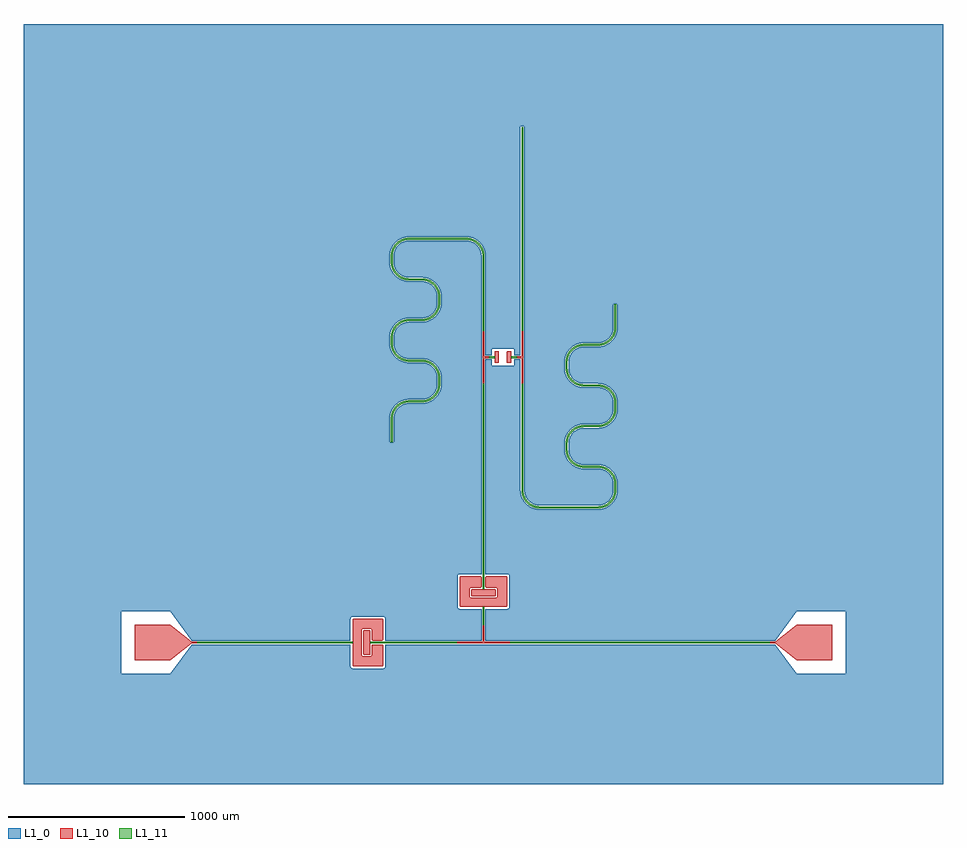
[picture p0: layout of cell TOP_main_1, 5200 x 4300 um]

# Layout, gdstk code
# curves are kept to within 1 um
import gdstk
lib = gdstk.Library(unit=1e-6, precision=1e-09)
def R(c, l, rs):  # rectangles x0, y0, x1, y1
    for r in rs: c.add(gdstk.rectangle(r[:2], r[2:], *l))
def P(c, l, *ps):  # polygons
    for p in ps: c.add(gdstk.Polygon(p, *l))
L1_0 = (1, 0)
L1_10 = (1, 10)
L1_11 = (1, 11)

ground_main_1 = lib.new_cell('ground_main_1')
R(ground_main_1, L1_0, [(-511.28,-800,-484.407,-11), (-484.407,-800,-438.03,-11), (-438.03,-800,-308.285,-11), (-308.285,-800,-263.265,-11), (-263.265,-800,-69.572,-11), (-69.572,-800,173.264,-11), (173.264,-800,467.953,-11), (467.953,-800,507.269,-11), (507.269,-800,569,-11), (569,-800,696.051,-11), (696.051,-800,731.192,-11), (-69.572,11,-11,190), (467.953,11,507.269,754), (507.269,11,569,754), (-308.285,2296,-263.265,3500)])
P(ground_main_1, L1_0, [(731.945,840.369),(734.175,850.759),(735.016,858.687),(735.177,896),(734.175,909.241),(731.192,922.18),(731.192,837.82)],
  [(-509.575,2250.173),(-498.016,2263.782),(-484.407,2275.341),(-484.407,3500),(-511.28,3500),(-511.28,2247.731)],
  [(-484.407,2246.211),(-495.543,2231.526),(-502.515,2217.205),(-506.792,2201.862),(-508.234,2186),(-508.073,2148.687),(-505.677,2132.94),(-498.154,2113.104),(-484.407,2093.789)],
  [(-509.575,1790.173),(-498.016,1803.782),(-484.407,1815.341),(-484.407,2064.659),(-498.016,2076.218),(-511.28,2092.269),(-511.28,1787.731)],
  [(-484.407,1786.211),(-495.543,1771.526),(-502.515,1757.205),(-506.792,1741.862),(-508.234,1726),(-508.073,1688.687),(-505.677,1672.94),(-498.154,1653.104),(-484.407,1633.789)],
  [(-509.575,1330.173),(-498.016,1343.782),(-484.407,1355.341),(-484.407,1604.659),(-498.016,1616.218),(-511.28,1632.269),(-511.28,1327.731)],
  [(-484.407,1326.211),(-499.354,1304.524),(-504.249,1292.18),(-507.232,1279.241),(-508.234,1135),(-511.28,1135),(-511.28,11),(-484.407,11)],
  [(-481.964,2277.046),(-460.949,2288.187),(-438.03,2294.551),(-438.03,3500),(-484.407,3500),(-484.407,2275.341)],
  [(-438.03,2272.174),(-451.439,2268.281),(-463.464,2262.649),(-474.505,2255.272),(-484.407,2246.211),(-484.407,2093.789),(-474.505,2084.728),(-463.464,2077.351),(-451.439,2071.719),(-438.03,2067.826)],
  [(-481.964,1817.046),(-460.949,1828.187),(-438.03,1834.551),(-438.03,2045.449),(-460.949,2051.813),(-484.407,2064.659),(-484.407,1815.341)],
  [(-438.03,1812.174),(-451.439,1808.281),(-463.464,1802.649),(-474.505,1795.272),(-484.407,1786.211),(-484.407,1633.789),(-474.505,1624.728),(-463.464,1617.351),(-451.439,1611.719),(-438.03,1607.826)],
  [(-481.964,1357.046),(-460.949,1368.187),(-438.03,1374.551),(-438.03,1585.449),(-460.949,1591.813),(-484.407,1604.659),(-484.407,1355.341)],
  [(-438.03,1352.174),(-451.439,1348.281),(-463.464,1342.649),(-474.505,1335.272),(-484.407,1326.211),(-484.407,11),(-438.03,11)],
  [(-435.084,2294.993),(-432.127,2295.355),(-429.161,2295.637),(-426.189,2295.839),(-423.213,2295.96),(-420.234,2296),(-308.285,2296),(-308.285,3500),(-438.03,3500),(-438.03,2294.551)],
  [(-308.285,2274),(-420.234,2274),(-438.03,2272.174),(-438.03,2067.826),(-422.892,2066.04),(-340.073,2065.637),(-322.453,2062.749),(-308.285,2058.187)],
  [(-435.084,1834.993),(-341.036,1836.361),(-325.369,1839.232),(-308.285,1845.989),(-308.285,2034.011),(-325.369,2040.768),(-341.036,2043.639),(-423.213,2044.04),(-438.03,2045.449),(-438.03,1834.551)],
  [(-308.285,1821.813),(-322.453,1817.251),(-340.073,1814.363),(-422.892,1813.96),(-438.03,1812.174),(-438.03,1607.826),(-422.892,1606.04),(-340.073,1605.637),(-322.453,1602.749),(-308.285,1598.187)],
  [(-435.084,1374.993),(-341.036,1376.361),(-325.369,1379.232),(-308.285,1385.989),(-308.285,1574.011),(-325.369,1580.768),(-341.036,1583.639),(-423.213,1584.04),(-438.03,1585.449),(-438.03,1374.551)],
  [(-308.285,1361.813),(-322.453,1357.251),(-340.073,1354.363),(-422.892,1353.96),(-438.03,1352.174),(-438.03,11),(-308.285,11)],
  [(-263.265,2274),(-308.285,2274),(-308.285,2058.187),(-284.827,2045.341),(-273.353,2035.86),(-263.265,2024.916)],
  [(-308.104,1846.08),(-294.729,1854.728),(-283.131,1865.645),(-273.691,1878.474),(-265.814,1895.294),(-263.265,1904.21),(-263.265,1975.79),(-269.88,1994.524),(-279.728,2010.271),(-292.661,2023.601),(-308.285,2034.011)],
  [(-263.265,1855.084),(-273.353,1844.14),(-284.827,1834.659),(-308.285,1821.813),(-308.285,1598.187),(-284.827,1585.341),(-273.353,1575.86),(-263.265,1564.916)],
  [(-308.104,1386.08),(-294.729,1394.728),(-283.131,1405.645),(-273.691,1418.474),(-265.814,1435.294),(-263.265,1444.21),(-263.265,1515.79),(-269.88,1534.524),(-279.728,1550.271),(-292.661,1563.601),(-308.285,1574.011)],
  [(-263.265,1395.084),(-273.353,1384.14),(-284.827,1374.659),(-308.285,1361.813),(-308.285,11),(-263.265,11)],
  [(-69.572,3500),(-263.265,3500),(-263.265,2296),(-96.021,2295.96),(-69.572,2291.99)],
  [(-69.572,190),(-137.341,190.231),(-144.276,194.387),(-147,202),(-146.087,379.592),(-141.667,384.978),(-136.176,386.942),(-69.572,387),(-69.572,2268.925),(-83.138,2272.559),(-96.342,2273.96),(-263.265,2274),(-263.265,2024.916),(-253.245,2010.138),(-245.747,1993.933),(-240.449,1973.796),(-239,1956),(-239.161,1918.045),(-242.251,1897.453),(-250.454,1875.126),(-263.265,1855.084),(-263.265,1564.916),(-253.245,1550.138),(-245.747,1533.933),(-240.449,1513.796),(-239,1496),(-239.161,1458.045),(-242.251,1437.453),(-250.454,1415.126),(-263.265,1395.084),(-263.265,11),(-69.572,11)],
  [(-262.96,1905.53),(-261.642,1913.393),(-261.04,1921.342),(-261,1956),(-261.642,1966.607),(-263.265,1975.79),(-263.265,1904.21)],
  [(-262.96,1445.53),(-261.642,1453.393),(-261.04,1461.342),(-261,1496),(-261.642,1506.607),(-263.265,1515.79),(-263.265,1444.21)],
  [(46.5,1661.5),(48.5,1663.5),(171.5,1663.5),(173.264,1662.443),(173.264,3500),(-69.572,3500),(-69.572,2291.99),(-55.533,2287.047),(-42.289,2280.254),(-27.788,2269.838),(-17.121,2259.457),(-7.954,2247.731),(-0.454,2234.874),(5.242,2221.123),(9.029,2206.729),(11,2186),(11,1626),(46.5,1626)],
  [(-11,387),(-11.04,2188.658),(-12.441,2201.862),(-15.814,2214.706),(-21.08,2226.896),(-28.12,2238.154),(-36.775,2248.225),(-46.846,2256.88),(-69.572,2268.925),(-69.572,387)],
  [(173.264,1567.557),(171.5,1566.5),(48.11,1566.538),(46.5,1568.5),(46.5,1604),(11,1604),(11,387),(136.176,386.942),(144.276,382.613),(147,375),(147,202),(144.978,195.333),(140.657,191.417),(135,190),(11,190),(11,11),(173.264,11)],
  [(467.953,1050.533),(461.572,1070.353),(459,1094),(459.645,1137.893),(462.251,1152.547),(467.953,1169.467),(467.953,1510.533),(461.572,1530.353),(459,1554),(459.645,1597.893),(462.251,1612.547),(467.953,1629.467),(467.953,3500),(173.264,3500),(173.5,1626),(209,1626),(209,2921),(231,2921),(231.642,853.393),(234.232,840.369),(238.753,827.884),(251.399,807.661),(269.01,791.577),(280.476,784.88),(292.82,779.985),(316.342,776.04),(467.953,776)],
  [(467.953,754),(316.021,754.04),(301.204,755.449),(286.713,758.845),(262.289,769.746),(243.353,784.14),(226.316,804.758),(214.758,828.877),(210.449,846.204),(209,864),(209,1604),(173.5,1604),(173.264,11),(467.953,11)],
  [(469.167,1632.188),(476.316,1645.242),(485.162,1657.212),(495.543,1667.879),(507.269,1677.046),(507.269,3500),(467.953,3500),(467.953,1629.467)],
  [(507.269,1648.705),(496.577,1635.99),(487.699,1619.676),(482.441,1601.862),(481,1586),(481.161,1548.687),(484.232,1530.369),(493.691,1508.474),(507.269,1491.295)],
  [(469.167,1172.188),(476.316,1185.242),(485.162,1197.212),(495.543,1207.879),(507.269,1217.046),(507.269,1462.954),(495.543,1472.121),(485.162,1482.788),(474.746,1497.289),(467.953,1510.533),(467.953,1169.467)],
  [(507.269,1188.705),(496.577,1175.99),(487.699,1159.676),(482.441,1141.862),(481,1126),(481.161,1088.687),(484.232,1070.369),(493.691,1048.474),(507.269,1031.295)],
  [(507.269,1002.954),(495.543,1012.121),(485.162,1022.788),(474.746,1037.289),(467.953,1050.533),(467.953,776),(507.269,776)],
  [(509.758,1678.684),(522.812,1685.833),(536.713,1691.155),(551.204,1694.551),(569,1696),(569,3500),(507.269,3500),(507.269,1677.046)],
  [(569,1674),(553.138,1672.559),(535.324,1667.301),(521.22,1659.899),(507.269,1648.705),(507.269,1491.295),(521.22,1480.101),(535.324,1472.699),(553.138,1467.441),(569,1466)],
  [(509.758,1218.684),(522.812,1225.833),(536.713,1231.155),(551.204,1234.551),(569,1236),(569,1444),(551.204,1445.449),(536.713,1448.845),(520.126,1455.454),(507.269,1462.954),(507.269,1217.046)],
  [(569,1214),(553.138,1212.559),(535.324,1207.301),(521.22,1199.899),(507.269,1188.705),(507.269,1031.295),(521.22,1020.101),(535.324,1012.699),(553.138,1007.441),(569,1006)],
  [(569,984),(551.204,985.449),(536.713,988.845),(520.126,995.454),(507.269,1002.954),(507.269,776),(569,776)],
  [(647.177,1696),(660.418,1697.002),(673.357,1699.985),(696.051,1710.832),(696.051,3500),(569,3500),(569,1696)],
  [(696.051,1685.454),(676.605,1678.01),(656.104,1674.363),(569,1674),(569,1466),(656.104,1465.637),(676.605,1461.99),(696.051,1454.546)],
  [(647.177,1236),(660.418,1237.002),(673.357,1239.985),(696.051,1250.832),(696.051,1429.168),(678.382,1438.281),(657.784,1443.358),(569,1444),(569,1236)],
  [(696.051,1225.454),(676.605,1218.01),(656.104,1214.363),(569,1214),(569,1006),(656.104,1005.637),(676.605,1001.99),(696.051,994.546)],
  [(649.835,776.04),(673.357,779.985),(696.051,790.832),(696.051,969.168),(678.382,978.281),(657.784,983.358),(569,984),(569,776)],
  [(696.051,765.454),(676.605,758.01),(656.104,754.363),(569,754),(569,11),(696.051,11)],
  [(697.167,1711.577),(707.495,1719.924),(718.057,1731.846),(726.297,1745.476),(731.192,1757.82),(731.192,3500),(696.051,3500),(696.051,1710.832)],
  [(731.192,1713.002),(716.093,1698.265),(696.051,1685.454),(696.051,1454.546),(716.093,1441.735),(731.192,1426.998)],
  [(697.167,1251.577),(707.495,1259.924),(718.057,1271.846),(726.297,1285.476),(731.192,1297.82),(731.192,1382.18),(726.297,1394.524),(718.057,1408.154),(707.495,1420.076),(696.051,1429.168),(696.051,1250.832)],
  [(731.192,1253.002),(716.093,1238.265),(696.051,1225.454),(696.051,994.546),(716.093,981.735),(731.192,966.998)],
  [(697.167,791.577),(707.495,799.924),(718.057,811.846),(726.297,825.476),(731.192,837.82),(731.192,922.18),(726.297,934.524),(718.057,948.154),(707.495,960.076),(696.051,969.168),(696.051,790.832)],
  [(731.192,793.002),(716.093,778.265),(696.051,765.454),(696.051,11),(731.192,11)],
  [(732.62,1762.94),(735.137,1781.342),(735.177,1915),(757.177,1915),(756.17,1769.15),(753.167,1754.572),(748.224,1740.533),(741.431,1727.289),(731.192,1713.002),(731.192,1426.998),(742.932,1410.138),(750.429,1393.933),(755.728,1373.796),(757.177,1356),(757.016,1318.045),(753.925,1297.453),(745.723,1275.126),(731.192,1253.002),(731.192,966.998),(745.723,944.874),(753.925,922.547),(757.016,901.955),(757.177,864),(755.728,846.204),(750.429,826.067),(742.932,809.862),(731.192,793.002),(731.192,11),(1650,11),(1772,176.5),(2048.5,176.5),(2048.5,-176.5),(1772,-176.5),(1650,-11),(731.192,-11),(731.192,-800),(2600,-800),(2600,3500),(731.192,3500),(731.192,1757.82)],
  [(731.945,1300.369),(734.175,1310.759),(735.016,1318.687),(735.177,1356),(734.175,1369.241),(731.192,1382.18),(731.192,1297.82)],
  [(-511.28,-11),(-555.5,-11),(-555.558,-136.176),(-559.015,-143.485),(-566.324,-146.942),(-740.5,-147),(-747.167,-144.978),(-751.083,-140.657),(-752.5,-135),(-752.5,-11),(-1650,-11),(-1772,-176.5),(-2048.5,-176.5),(-2048.5,176.5),(-1772,176.5),(-1650,11),(-752.5,11),(-752.5,135),(-751.083,140.657),(-747.167,144.978),(-740.5,147),(-566.324,146.942),(-559.015,143.485),(-555.558,136.176),(-555.5,11),(-511.28,11),(-511.28,1135),(-530.234,1135),(-530.073,1271.955),(-526.982,1292.547),(-520.067,1312.188),(-2600,1312.188),(-2600,-800),(-511.28,-800)],
  [(-518.78,1314.874),(-511.28,1327.731),(-511.28,1632.269),(-522.421,1653.285),(-528.263,1673.271),(-530.194,1691.021),(-530.234,1726),(-528.785,1743.796),(-525.389,1758.287),(-518.78,1774.874),(-511.28,1787.731),(-511.28,2092.269),(-522.421,2113.285),(-528.263,2133.271),(-530.194,2151.021),(-530.234,2186),(-528.785,2203.796),(-525.389,2218.287),(-518.78,2234.874),(-511.28,2247.731),(-511.28,3500),(-2600,3500),(-2600,1312.188),(-520.067,1312.188)])

top_main_1 = lib.new_cell('TOP_main_1')
P(top_main_1, L1_10, [(-1650,5),(-1772,100),(-1972,100),(-1972,-100),(-1772,-100),(-1650,-5),(-1620,-5),(-1620,5),(-1650,5)],
  [(1650,-5),(1772,-100),(1972,-100),(1972,100),(1772,100),(1650,5),(1620,5),(1620,-5),(1650,-5)],
  [(-672.5,-70),(-678.157,-67.657),(-680.461,-62.784),(-680.346,63.561),(-678.157,67.657),(-674.061,69.846),(-645.939,69.846),(-641.316,67.075),(-639.5,62),(-639.654,-63.561),(-641.843,-67.657),(-645.939,-69.846)],
  [(-575.402,-134.995),(-569.989,-132.789),(-567.505,-127.098),(-567.505,-18.902),(-570.583,-12.699),(-575.598,-11),(-627.44,-12.046),(-631.471,-18.412),(-631.5,-70),(-633.316,-75.075),(-638.716,-77.961),(-680.5,-78),(-686.157,-75.657),(-688.461,-70.784),(-688.5,-11),(-740.5,-11),(-740.5,-126.902),(-737.417,-133.301),(-732.402,-135)],
  [(-688.5,70),(-686.157,75.657),(-681.284,77.961),(-635.729,77.055),(-631.539,70.784),(-631.495,18.902),(-629.289,13.489),(-623.598,11.005),(-571.906,11.861),(-568.747,14.724),(-567.505,18.902),(-568.361,130.594),(-571.224,133.753),(-575.598,135),(-736.094,134.139),(-739.253,131.276),(-740.495,127.098),(-740.5,-11),(-688.5,-11)],
  [(150,-5),(-150,-5),(-150,5),(-5,5),(-5,100),(5,100),(5,5),(150,5),(150,-5)],
  [(70,270),(67.657,264.343),(62.784,262.039),(-63.561,262.154),(-67.657,264.343),(-69.846,268.439),(-69.846,296.561),(-67.075,301.184),(-62,303),(63.561,302.846),(67.657,300.657),(69.846,296.561)],
  [(11,254),(-70.784,254.039),(-75.657,256.343),(-77.846,260.439),(-77.961,303.784),(-75.075,309.184),(-70,311),(-18.412,311.029),(-12.046,315.06),(-11.005,367.098),(-14.083,373.301),(-19.098,375),(-126.902,375),(-133.301,371.917),(-135,366.902),(-135,210.098),(-131.917,203.699),(-126.902,202),(11,202)],
  [(127.098,202.005),(132.511,204.211),(134.995,209.902),(135,366.902),(133.753,371.276),(130.94,373.954),(126.902,375),(19.098,375),(14.724,373.753),(11.005,367.098),(12.046,315.06),(18.412,311.029),(70,311),(75.075,309.184),(77.961,303.784),(78,262),(75.657,256.343),(70.784,254.039),(11,254),(11,202)],
  [(-5,1465),(-5,1765),(5,1765),(5,1620),(32.5,1620),(32.5,1610),(5,1610),(5,1465),(-5,1465)],
  [(187.5,1620),(215,1620),(215,1765),(225,1765),(225,1465),(215,1465),(215,1610),(187.5,1610),(187.5,1620)],
  [(64.5,1582.5),(62.5,1584.5),(62.586,1646.081),(64.304,1647.49),(86.081,1647.414),(87.5,1645.5),(87.414,1583.919),(85.696,1582.51)],
  [(134.5,1582.5),(132.5,1584.5),(132.586,1646.081),(134.304,1647.49),(156.081,1647.414),(157.5,1645.5),(157.414,1583.919),(155.696,1582.51)])
R(top_main_1, L1_11, [(-1620,-5,-792.5,5), (-792.5,-5,-740.499,5), (-639.501,-5,-527.5,5), (-527.5,-5,-150,5), (150,-5,1620,5), (-5,100,5,150), (-5,150,5,202.001), (-5,302.999,5,415), (-5,415,5,1465), (215,1009.999,225,1226.076), (215,1226.076,225,1443.065), (215,1443.065,225,1465), (32.5,1610,52.5,1620), (52.5,1610,62.501,1620), (157.499,1610,167.5,1620), (167.5,1610,187.5,1620), (-5,1765,5,1824.365), (215,1765,225,2915), (-5,1824.365,5,2040.001)])
P(top_main_1, L1_11, [(-514.234,1266),(-511.031,1290.329),(-501.64,1313),(-486.702,1332.468),(-467.234,1347.406),(-449.801,1355.229),(-431.147,1359.364),(-343.271,1360.158),(-317.954,1364.742),(-299.501,1372.535),(-282.885,1383.721),(-268.721,1397.885),(-257.456,1414.652),(-268.995,1414.652),(-278.78,1401.509),(-290.698,1390.265),(-304.388,1381.261),(-319.433,1374.771),(-343.534,1370.159),(-423.1,1369.961),(-442.977,1367.483),(-456.7,1363.397),(-472.234,1356.067),(-484.112,1348.071),(-496.749,1336.437),(-507.299,1322.883),(-515.474,1307.776),(-521.051,1291.53),(-523.879,1274.588),(-524.234,1135),(-514.234,1135)],
  [(-256.206,1417.041),(-248.924,1435.701),(-245.631,1452.559),(-245,1496),(-246.418,1513.118),(-250.635,1529.769),(-258.933,1548),(-268.721,1562.115),(-280.698,1574.427),(-292.117,1583.065),(-304.615,1590.053),(-317.954,1595.258),(-331.882,1598.582),(-346.134,1599.961),(-425.699,1600.159),(-441.912,1602.534),(-459.354,1608.535),(-479.494,1608.535),(-456.7,1596.603),(-434.519,1590.986),(-346.266,1589.96),(-329.992,1588.058),(-309.274,1581.193),(-288.578,1568.008),(-278.78,1558.491),(-268.995,1545.348),(-261.641,1530.705),(-256.942,1515.008),(-255.04,1498.734),(-255.636,1453.087),(-259.771,1434.433),(-268.995,1414.652),(-257.456,1414.652)],
  [(-459.96,1608.807),(-478.536,1620.265),(-493.969,1635.698),(-505.427,1654.274),(-511.7,1672.322),(-514.194,1691.266),(-513.598,1736.913),(-508.565,1758.15),(-498.77,1777.654),(-488.607,1790.507),(-476.367,1801.4),(-459.96,1811.193),(-444.563,1816.797),(-422.968,1819.96),(-343.271,1820.158),(-319.22,1824.365),(-454.003,1824.365),(-469.732,1817.465),(-484.112,1808.071),(-496.749,1796.437),(-507.299,1782.883),(-518.599,1759.769),(-523.603,1737.441),(-524.076,1688.271),(-520.31,1665.701),(-515.474,1652.224),(-508.833,1639.538),(-500.513,1627.885),(-490.671,1617.485),(-479.494,1608.535)],
  [(-317.954,1824.742),(-304.615,1829.947),(-292.117,1836.935),(-280.698,1845.573),(-270.573,1855.698),(-261.935,1867.117),(-254.947,1879.615),(-248.924,1895.701),(-245.986,1909.715),(-245.158,1961.729),(-249.742,1987.046),(-256.206,2002.959),(-265.2,2017.592),(-276.481,2030.545),(-287.69,2040.001),(-306.813,2040.001),(-286.509,2026.22),(-270.464,2007.654),(-259.771,1985.567),(-255.159,1961.466),(-255.04,1921.266),(-256.942,1904.992),(-263.807,1884.274),(-275.265,1865.698),(-284.493,1855.627),(-297.346,1845.464),(-311.769,1837.688),(-327.322,1832.534),(-346.266,1830.04),(-425.963,1829.842),(-440.172,1828.071),(-454.003,1824.365)],
  [(-289.74,2041.465),(-309.864,2052.355),(-329.062,2058.071),(-346.134,2059.961),(-431.147,2060.636),(-454.939,2066.641),(-474.15,2077),(-484.741,2085.627),(-493.969,2095.698),(-502.973,2109.388),(-508.565,2121.85),(-512.806,2137.677),(-514.194,2151.266),(-514.075,2191.466),(-511.431,2208.743),(-521.717,2208.743),(-524.076,2191.729),(-524.194,2151.134),(-520.31,2125.701),(-514.287,2109.615),(-505.699,2094.74),(-494.779,2081.481),(-481.826,2070.2),(-459.37,2057.645),(-434.519,2050.986),(-343.534,2049.841),(-324.671,2046.797),(-306.813,2040.001),(-287.69,2040.001)],
  [(5,2186),(2.483,2208.743),(-7.803,2208.743),(-5.04,2188.734),(-5,2040.001),(5,2040.001)],
  [(1.818,2211.53),(-2.645,2225.136),(-8.933,2238),(-16.929,2249.878),(-26.481,2260.545),(-37.408,2269.8),(-49.501,2277.465),(-65.231,2284.365),(-79.062,2288.071),(-99,2290),(-420.234,2290),(-437.352,2288.582),(-454.003,2284.365),(-469.732,2277.465),(-484.112,2268.071),(-496.749,2256.437),(-507.299,2242.883),(-516.589,2225.136),(-521.717,2208.743),(-511.431,2208.743),(-505.427,2225.726),(-497.234,2239.916),(-486.702,2252.468),(-474.15,2263),(-462.421,2270.001),(-449.801,2275.229),(-433.857,2279.008),(-420.234,2280),(-99,2280),(-82.677,2278.572),(-59.274,2271.193),(-40.698,2259.735),(-30.627,2250.507),(-20.464,2237.654),(-12.688,2223.231),(-7.803,2208.743),(2.483,2208.743)],
  [(650.043,760.039),(667.115,761.929),(683.643,766.603),(699.177,773.933),(713.292,783.721),(725.604,795.698),(735.777,809.538),(743.532,824.864),(748.66,841.257),(738.374,841.257),(732.37,824.274),(724.177,810.084),(713.645,797.532),(701.093,787),(689.364,779.999),(676.744,774.771),(660.801,770.992),(647.177,770),(319,770),(302.677,771.428),(279.274,778.807),(258.578,791.992),(248.78,801.509),(238.995,814.652),(232.688,826.769),(227.803,841.257),(217.517,841.257),(221.603,827.534),(228.933,812),(236.929,800.122),(246.481,789.455),(257.408,780.2),(269.501,772.535),(285.231,765.635),(299.062,761.929),(319,760)],
  [(227.534,842.322),(225.04,861.266),(225,1009.999),(215,1009.999),(215.355,855.412),(217.517,841.257),(227.803,841.257)],
  [(749.248,844.062),(751.137,861.134),(751.137,898.866),(749.759,913.118),(746.435,927.046),(739.971,942.959),(730.977,957.592),(719.696,970.545),(706.437,981.465),(683.643,993.397),(661.462,999.014),(563.534,1000.159),(544.671,1003.203),(526.813,1009.999),(507.69,1009.999),(527.224,998.76),(549.062,991.929),(566.134,990.039),(658.09,989.364),(681.882,983.359),(701.093,973),(711.684,964.373),(722.577,952.133),(729.916,940.612),(735.508,928.15),(739.749,912.323),(741.137,898.734),(741.018,858.534),(738.374,841.257),(748.66,841.257)],
  [(524.388,1011.261),(508.578,1021.992),(493.6,1037.867),(482.688,1056.769),(476.428,1077.677),(475,1094),(475.04,1128.734),(476.428,1142.323),(482.688,1163.231),(493.6,1182.133),(504.493,1194.373),(517.346,1204.536),(531.769,1212.312),(547.322,1217.466),(566.266,1219.96),(652.906,1220.158),(667.115,1221.929),(682.174,1226.076),(540.701,1226.076),(524.615,1220.053),(509.74,1211.465),(496.481,1200.545),(485.2,1187.592),(472.645,1165.136),(465.986,1140.285),(465.039,1091.134),(467.517,1071.257),(471.603,1057.534),(477.535,1044.501),(485.2,1032.408),(494.455,1021.481),(507.69,1009.999),(526.813,1009.999)],
  [(683.643,1226.603),(696.675,1232.535),(708.769,1240.2),(719.696,1249.455),(729.248,1260.122),(737.244,1272),(744.574,1287.534),(748.66,1301.257),(750.822,1315.412),(750.822,1364.588),(748.66,1378.743),(744.574,1392.466),(737.244,1408),(729.248,1419.878),(717.614,1432.515),(704.06,1443.065),(682.591,1443.065),(694.177,1437.406),(705.479,1429.735),(715.55,1420.507),(722.577,1412.133),(729.916,1400.612),(734.536,1390.705),(737.974,1380.329),(740.541,1366.913),(741.177,1324),(739.749,1307.677),(733.489,1286.769),(722.577,1267.867),(711.684,1255.627),(698.831,1245.464),(684.408,1237.688),(668.855,1232.534),(649.911,1230.04),(563.271,1229.842),(540.701,1226.076)],
  [(701.639,1444.6),(680.946,1454.365),(658.618,1459.369),(566.266,1460.04),(549.992,1461.942),(529.274,1468.807),(508.578,1481.992),(498.78,1491.509),(488.995,1504.652),(481.641,1519.295),(476.942,1534.992),(475.04,1551.266),(475.636,1596.913),(479.771,1615.567),(488.995,1635.348),(477.456,1635.348),(469.742,1617.046),(465.631,1597.441),(465.986,1539.715),(470.635,1520.231),(477.535,1504.501),(486.929,1490.122),(500.698,1475.573),(512.117,1466.935),(524.615,1459.947),(537.954,1454.742),(551.882,1451.418),(566.134,1450.039),(652.643,1449.841),(668.855,1447.466),(682.591,1443.065),(704.06,1443.065)],
  [(490.464,1637.654),(500.627,1650.507),(512.867,1661.4),(524.388,1668.739),(539.433,1675.229),(563.534,1679.841),(650.043,1680.039),(667.115,1681.929),(683.643,1686.603),(699.177,1693.933),(711.055,1701.929),(723.692,1713.563),(732.642,1724.74),(741.23,1739.615),(747.253,1755.701),(750.191,1769.715),(751.177,1915),(741.177,1915),(741.177,1784),(739.749,1767.677),(736.406,1754.433),(731.178,1741.813),(724.177,1730.084),(715.55,1719.493),(703.31,1708.6),(691.789,1701.261),(679.327,1695.669),(666.185,1691.942),(649.911,1690.04),(563.271,1689.842),(546.257,1687.483),(532.534,1683.397),(509.74,1671.465),(492.485,1656.437),(477.456,1635.348),(488.995,1635.348)])
top_main_1.add(gdstk.Reference(ground_main_1, (0,0)))

lib.write_gds('TOP_main_1.gds')
